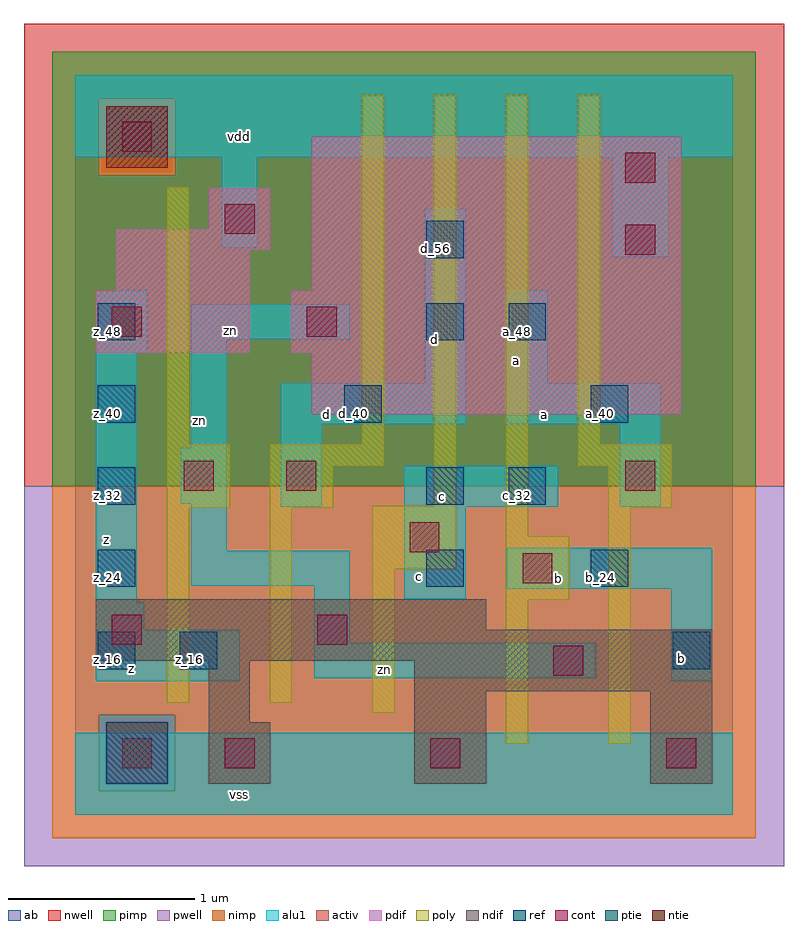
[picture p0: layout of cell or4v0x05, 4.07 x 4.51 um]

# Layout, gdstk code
import gdstk
lib = gdstk.Library(unit=1e-6, precision=2.5e-09)
def R(c, l, rs):  # rectangles x0, y0, x1, y1
    for r in rs: c.add(gdstk.rectangle(r[:2], r[2:], *l))
def A(c, l, x, y, w, h, nx, ny, dx, dy):  # array of equal rectangles
    R(c, l, [(x+i*dx, y+j*dy, x+i*dx+w, y+j*dy+h) for i in range(nx) for j in range(ny)])
ndif = (3, 0)
pdif = (4, 0)
ntie = (5, 0)
ptie = (6, 0)
ref = (24, 0)
cont = (25, 0)
pwell = (41, 0)
nwell = (42, 0)
activ = (43, 0)
pimp = (44, 0)
nimp = (45, 0)
poly = (46, 0)
alu1 = (49, 0)
ab = (63, 0)

or4v0x05 = lib.new_cell('or4v0x05')
R(or4v0x05, ndif, [(0.715,0.165,1.045,0.495), (1.815,0.165,2.2,0.66), (3.08,0.165,3.41,0.66), (0.715,0.495,0.935,0.825), (1.815,0.66,3.41,0.825), (0.11,0.825,3.41,0.99), (0.11,0.99,2.2,1.155)])
R(or4v0x05, pdif, [(1.265,2.145,3.245,2.475), (0.11,2.475,0.935,2.805), (1.155,2.475,3.245,2.805), (0.22,2.805,0.935,3.025), (1.265,2.805,3.245,3.63), (0.22,3.025,1.045,3.135), (0.715,3.135,1.045,3.355)])
R(or4v0x05, ntie, [(0.165,3.465,0.495,3.795)])
R(or4v0x05, ptie, [(0.165,0.165,0.495,0.495)])
A(or4v0x05, ref, 0.12, 0.78, 0.2, 0.2, 1, 3, 0, 0.44)
A(or4v0x05, ref, 0.12, 2.1, 0.2, 0.2, 3, 1, 1.32, 0)
R(or4v0x05, ref, [(0.56,0.78,0.76,0.98), (3.2,0.78,3.4,0.98), (1.88,1.22,2.08,1.42), (2.76,1.22,2.96,1.42), (1.88,1.66,2.08,1.86), (2.32,1.66,2.52,1.86), (0.12,2.54,0.32,2.74), (1.88,2.54,2.08,2.74), (2.32,2.54,2.52,2.74), (1.88,2.98,2.08,3.18)])
R(or4v0x05, cont, [(0.25,0.25,0.41,0.41), (0.8,0.25,0.96,0.41), (1.9,0.25,2.06,0.41), (3.165,0.25,3.325,0.41), (2.56,0.745,2.72,0.905), (0.195,0.91,0.355,1.07), (1.295,0.91,1.455,1.07), (2.395,1.24,2.555,1.4), (1.79,1.405,1.95,1.565), (0.58,1.735,0.74,1.895), (1.13,1.735,1.29,1.895), (2.945,1.735,3.105,1.895), (0.195,2.56,0.355,2.72), (1.24,2.56,1.4,2.72), (2.945,3,3.105,3.16), (0.8,3.11,0.96,3.27), (2.945,3.385,3.105,3.545), (0.25,3.55,0.41,3.71)])
R(or4v0x05, pwell, [(-0.275,-0.275,3.795,1.76)])
R(or4v0x05, nwell, [(-0.275,1.76,3.795,4.235)])
R(or4v0x05, activ, [(0.165,0.165,0.495,0.495), (0.715,0.165,1.045,0.495), (1.815,0.165,2.2,0.66), (3.08,0.165,3.41,0.66), (0.715,0.495,0.935,0.825), (1.815,0.66,3.41,0.825), (0.11,0.825,3.41,0.99), (0.11,0.99,2.2,1.155), (1.265,2.145,3.245,2.475), (0.11,2.475,0.935,2.805), (1.155,2.475,3.245,2.805), (0.22,2.805,0.935,3.025), (1.265,2.805,3.245,3.63), (0.22,3.025,1.045,3.135), (0.715,3.135,1.045,3.355), (0.165,3.465,0.495,3.795)])
R(or4v0x05, pimp, [(0.125,0.125,0.535,0.535), (-0.125,1.76,3.645,3.425), (-0.125,3.425,0.125,3.835), (0.535,3.425,3.645,3.835), (-0.125,3.835,3.645,4.085)])
R(or4v0x05, nimp, [(-0.125,-0.125,3.645,0.125), (-0.125,0.125,0.125,0.535), (0.535,0.125,3.645,0.535), (-0.125,0.535,3.645,1.76), (0.125,3.425,0.535,3.835)])
R(or4v0x05, poly, [(2.305,0.38,2.425,1.15), (2.855,0.38,2.975,1.645), (1.59,0.545,1.71,1.315), (0.49,0.6,0.61,1.645), (1.04,0.6,1.16,1.645), (2.305,1.15,2.645,1.49), (1.59,1.315,2.04,1.655), (2.305,1.49,2.425,3.855), (0.49,1.645,0.83,1.985), (1.04,1.645,1.38,1.865), (2.855,1.645,3.195,1.865), (1.92,1.655,2.04,3.855), (1.04,1.865,1.655,1.985), (2.69,1.865,3.195,1.985), (0.49,1.985,0.61,3.36), (1.535,1.985,1.655,3.855), (2.69,1.985,2.81,3.855)])
R(or4v0x05, alu1, [(0,0,3.52,0.44), (0.11,0.715,0.88,0.99), (3.19,0.715,3.41,1.21), (1.28,0.73,2.79,0.92), (1.28,0.92,1.47,1.225), (0.11,0.99,0.37,1.14), (0.11,1.14,0.33,2.475), (1.76,1.155,2.09,1.65), (2.31,1.21,3.41,1.43), (0.62,1.225,1.47,1.415), (0.62,1.415,0.81,1.665), (1.1,1.65,1.32,2.09), (1.76,1.65,2.585,1.87), (2.915,1.65,3.135,2.09), (0.565,1.665,0.81,1.965), (0.62,1.965,0.81,2.545), (1.1,2.09,2.09,2.31), (2.31,2.09,3.135,2.31), (1.87,2.31,2.09,3.245), (2.31,2.31,2.53,2.805), (0.11,2.475,0.385,2.805), (0.62,2.545,1.47,2.735), (2.875,2.985,3.175,3.52), (0.785,3.04,0.975,3.52), (0,3.52,3.52,3.96)])
R(or4v0x05, ab, [(0,0,3.52,3.96)])
or4v0x05.add(gdstk.Label('vss', (0.88,0.11), layer=49, texttype=0))
or4v0x05.add(gdstk.Label('b', (3.245,0.8375), layer=49, texttype=0))
or4v0x05.add(gdstk.Label('zn', (1.6575,0.7775), layer=49, texttype=0))
or4v0x05.add(gdstk.Label('b', (2.585,1.265), layer=49, texttype=0))
or4v0x05.add(gdstk.Label('c', (1.8425,1.2775), layer=49, texttype=0))
or4v0x05.add(gdstk.Label('z', (0.3025,0.7825), layer=49, texttype=0))
or4v0x05.add(gdstk.Label('c', (1.965,1.705), layer=49, texttype=0))
or4v0x05.add(gdstk.Label('a', (2.515,2.145), layer=49, texttype=0))
or4v0x05.add(gdstk.Label('a', (2.365,2.4325), layer=49, texttype=0))
or4v0x05.add(gdstk.Label('d', (1.3475,2.145), layer=49, texttype=0))
or4v0x05.add(gdstk.Label('d', (1.925,2.5425), layer=49, texttype=0))
or4v0x05.add(gdstk.Label('zn', (0.6675,2.11), layer=49, texttype=0))
or4v0x05.add(gdstk.Label('z', (0.165,1.4725), layer=49, texttype=0))
or4v0x05.add(gdstk.Label('zn', (0.8325,2.5925), layer=49, texttype=0))
or4v0x05.add(gdstk.Label('vdd', (0.88,3.63), layer=49, texttype=0))
or4v0x05.add(gdstk.Label('b_16', (3.25,0.83), layer=24, texttype=0))
or4v0x05.add(gdstk.Label('a_40', (2.81,2.15), layer=24, texttype=0))
or4v0x05.add(gdstk.Label('b_24', (2.81,1.27), layer=24, texttype=0))
or4v0x05.add(gdstk.Label('a_48', (2.37,2.59), layer=24, texttype=0))
or4v0x05.add(gdstk.Label('c_32', (2.37,1.71), layer=24, texttype=0))
or4v0x05.add(gdstk.Label('z_48', (0.17,2.59), layer=24, texttype=0))
or4v0x05.add(gdstk.Label('z_40', (0.17,2.15), layer=24, texttype=0))
or4v0x05.add(gdstk.Label('z_32', (0.17,1.71), layer=24, texttype=0))
or4v0x05.add(gdstk.Label('z_24', (0.17,1.27), layer=24, texttype=0))
or4v0x05.add(gdstk.Label('z_16', (0.17,0.83), layer=24, texttype=0))
or4v0x05.add(gdstk.Label('d_56', (1.93,3.03), layer=24, texttype=0))
or4v0x05.add(gdstk.Label('d_48', (1.93,2.59), layer=24, texttype=0))
or4v0x05.add(gdstk.Label('c_32', (1.93,1.71), layer=24, texttype=0))
or4v0x05.add(gdstk.Label('c_24', (1.93,1.27), layer=24, texttype=0))
or4v0x05.add(gdstk.Label('d_40', (1.49,2.15), layer=24, texttype=0))
or4v0x05.add(gdstk.Label('z_16', (0.61,0.83), layer=24, texttype=0))

lib.write_gds('or4v0x05.gds')
